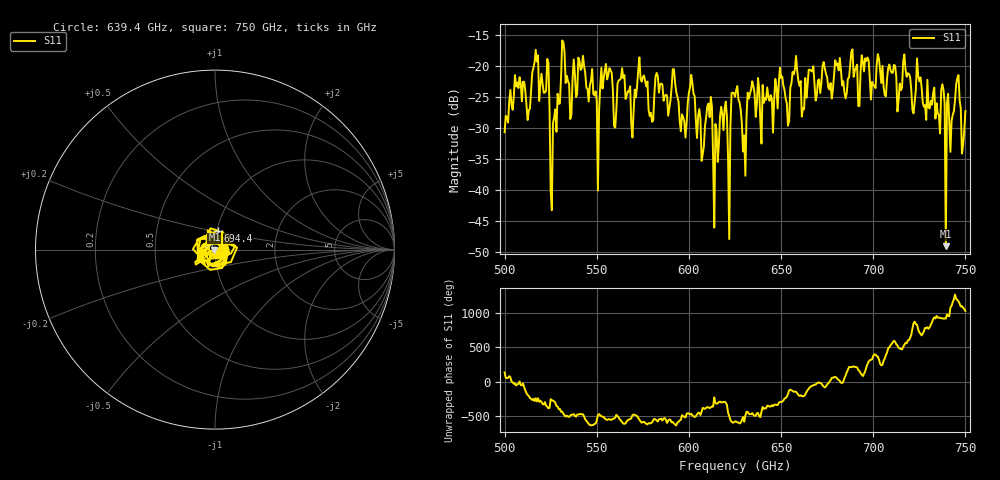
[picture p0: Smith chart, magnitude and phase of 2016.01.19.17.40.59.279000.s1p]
!Created with skrf (http://scikit-rf.org).
# GHz S RI R 50.0
!freq ReS11 ImS11
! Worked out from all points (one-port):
!   401 points, 500 GHz to 750 GHz, reference 50 ohm
!   lowest |S11| = -49.1 dB at 739.4 GHz (marker M1), VSWR 1.01, Z = 49.7 - j0.121 ohm
!   |S11| at or under -10 dB: start of sweep to end of sweep
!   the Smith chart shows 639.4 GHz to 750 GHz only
!   S11 on the Smith chart (normalised r, x): 639.4 GHz: 1.01, -0.05; 694.4 GHz: 1.01, +0.22; 750 GHz: 1.06, -0.07
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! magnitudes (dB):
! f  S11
! 500 GHz  -30.8
! 506.9 GHz  -22.7
! 513.1 GHz  -27.3
! 516.9 GHz  -17.5
! 523.1 GHz  -18.9
! 526.2 GHz  -29.3
! 531.2 GHz  -16.0
! 550 GHz  -25.7
! 553.8 GHz  -22.1
! 562.5 GHz  -22.3
! 593.8 GHz  -25.1
! 601.9 GHz  -22.8
! 607.5 GHz  -34.3
! 611.2 GHz  -28.3
! 614.4 GHz  -29.4
! 618.8 GHz  -30.4
! 621.9 GHz  -48.0
! 625 GHz  -25.0
! 630 GHz  -31.3
! 633.1 GHz  -24.6
! 639.4 GHz  -32.6
! 656.2 GHz  -21.0
! 687.5 GHz  -20.0
! 694.4 GHz  -19.4
! 718.8 GHz  -21.2
! 739.4 GHz  -49.1
! 745.6 GHz  -22.0
! 750 GHz  -27.3
